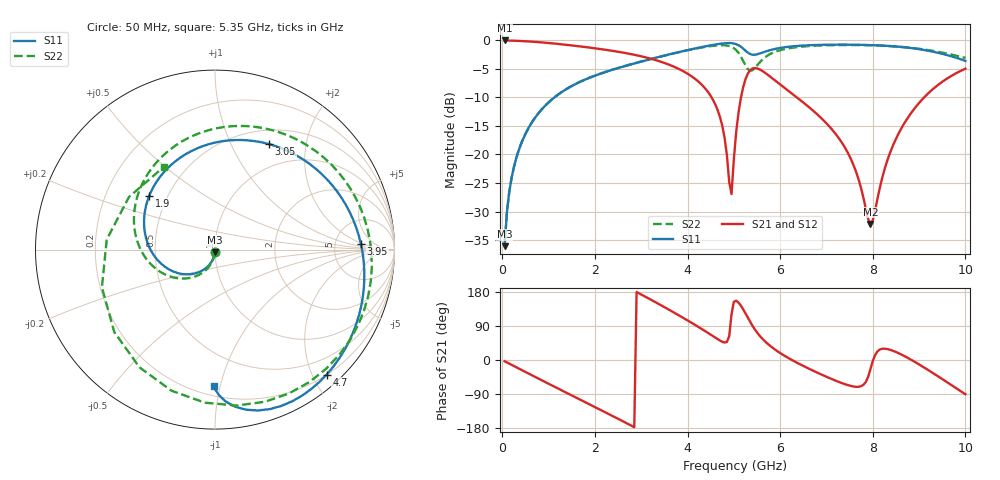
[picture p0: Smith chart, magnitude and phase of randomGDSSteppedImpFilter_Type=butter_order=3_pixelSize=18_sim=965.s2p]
! freq	dB(S11)	phase(S11)	dB(S12)	phase(S12)
!  dB(S21)	phase(S21)	dB(S22)	phase(S22)
!S-par simulation data
#  GHz  S  DB  R 50
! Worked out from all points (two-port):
!   200 points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, 50 MHz to 10 GHz, reference 50 ohm
!   highest |S21| = -0.01 dB at 50 MHz (marker M1); lowest = -32.2 dB at 7.95 GHz (marker M2)
!   |S21| within 3 dB of the highest: start of sweep to 3.114 GHz
!   lowest |S11| = -36.1 dB at 50 MHz (marker M3), VSWR 1.03, Z = 49.9 - j1.56 ohm
!   |S11| at or under -10 dB: start of sweep to 1.124 GHz
!   |S22| runs from -36.1 to -0.8 dB; largest |S21 - S12| = 0
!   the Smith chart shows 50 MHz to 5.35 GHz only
!   S11 on the Smith chart (normalised r, x): 50 MHz: 1.00, -0.03; 1.9 GHz: 0.40, +0.31; 3.05 GHz: 0.68, +1.41; 3.95 GHz: 9.42, +1.72; 4.7 GHz: 0.20, -2.22; 5.35 GHz: 0.27, -0.96
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0.05  -36.08 -93.2  -0.01 -3.2  -0.01 -3.2  -36.06 -92.5
0.2  -24.14 -103.9  -0.04 -12.7  -0.04 -12.7  -24.14 -101.9
0.5  -16.39 -124.8  -0.14 -31.6  -0.14 -31.6  -16.38 -119.5
1.75  -7.01 150.8  -1.12 -108.6  -1.12 -108.6  -6.99 170.4
1.9  -6.50 140.8  -1.27 -117.8  -1.27 -117.8  -6.48 162.1
3.05  -3.60 62.8  -2.88 169.7  -2.88 169.7  -3.59 94.9
3.4  -2.86 39.1  -3.67 146.4  -3.67 146.4  -2.86 72.0
3.95  -1.79 2.2  -5.59 108.1  -5.59 108.1  -1.82 32.2
4.7  -0.60 -48.2  -13.41 51.4  -13.41 51.4  -0.84 -40.2
4.95  -0.48 -67.0  -26.95 120.7  -26.95 120.7  -1.14 -82.1
5.05  -0.65 -75.0  -16.10 156.5  -16.10 156.5  -1.70 -107.1
5.2  -1.42 -85.9  -8.24 133.9  -8.24 133.9  -3.55 -161.6
5.35  -2.38 -90.5  -5.25 101.1  -5.25 101.1  -5.32 121.8
5.55  -2.32 -93.3  -5.06 65.1  -5.06 65.1  -3.93 41.1
5.8  -1.67 -103.3  -6.45 35.7  -6.45 35.7  -2.33 -8.4
6.2  -1.10 -123.9  -8.97 3.7  -8.97 3.7  -1.36 -51.7
6.7  -0.82 -150.9  -12.24 -27.6  -12.24 -27.6  -0.95 -89.0
7.5  -0.74 162.5  -20.32 -67.6  -20.32 -67.6  -0.81 -139.1
7.95  -0.82 132.6  -32.17 -23.9  -32.17 -23.9  -0.86 -166.6
8.35  -0.97 102.8  -20.21 27.8  -20.21 27.8  -0.99 168.0
9.25  -1.89 24.3  -8.89 -30.6  -8.89 -30.6  -1.77 106.9
10  -3.59 -48.0  -4.96 -90.4  -4.96 -90.4  -3.07 55.6
